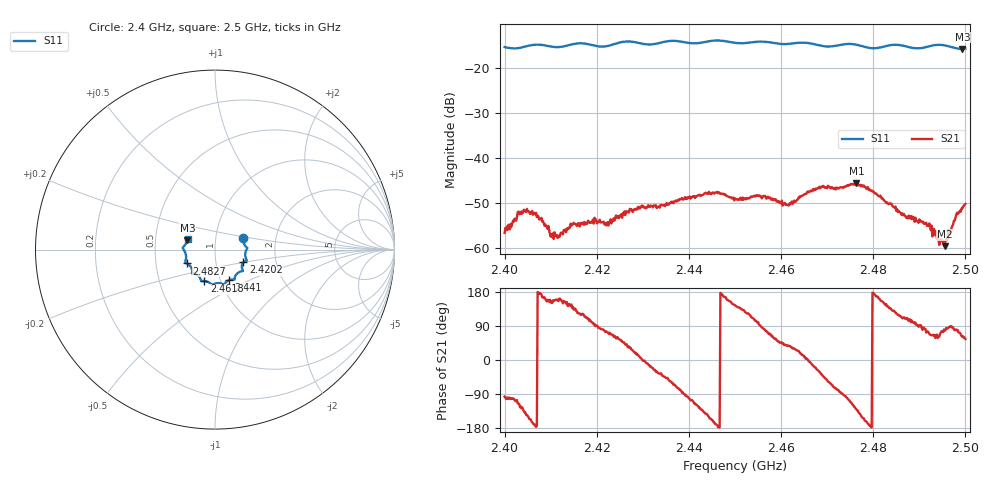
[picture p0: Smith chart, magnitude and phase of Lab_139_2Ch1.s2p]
# Hz S RI R 50
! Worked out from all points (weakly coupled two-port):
!   601 points, 2.4 GHz to 2.5 GHz, reference 50 ohm
!   highest |S21| = -45.64 dB at 2.4763 GHz (marker M1); lowest = -59.6 dB at 2.4955 GHz (marker M2)
!   lowest |S11| = -15.8 dB at 2.4993 GHz (marker M3), VSWR 1.39, Z = 36.5 + j3.84 ohm
!   |S11| at or under -10 dB: start of sweep to end of sweep
!   S12 and S22 are empty: the file has one direction only
!   S11 on the Smith chart (normalised r, x): 2.4 GHz: 1.36, +0.18; 2.4202 GHz: 1.36, -0.20; 2.441 GHz: 1.10, -0.39; 2.4618 GHz: 0.84, -0.30; 2.4827 GHz: 0.72, -0.12; 2.5 GHz: 0.73, +0.09
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2.4e9  0.1582 0.063  -0.00017 -0.00146  0 0  0 0
2.404667e9  0.1727 0.0153  -0.00205 -0.00143  0 0  0 0
2.406833e9  0.1806 0.00929  -0.00245 -0.000144  0 0  0 0
2.4105e9  0.1707 -0.0109  -0.00134 0.000564  0 0  0 0
2.416667e9  0.1772 -0.0609  -0.00092 0.00165  0 0  0 0
2.420167e9  0.1585 -0.0712  1.37e-05 0.00194  0 0  0 0
2.422167e9  0.1496 -0.089  0.000517 0.00181  0 0  0 0
2.4295e9  0.1413 -0.1227  0.00286 0.000279  0 0  0 0
2.433333e9  0.1114 -0.1508  0.00237 -0.0016  0 0  0 0
2.441e9  0.0788 -0.1697  -0.00131 -0.00346  0 0  0 0
2.446167e9  0.0496 -0.1953  -0.00416 -0.00052  0 0  0 0
2.45e9  0.0284 -0.1875  -0.00288 0.00206  0 0  0 0
2.455e9  -0.0125 -0.195  -0.000679 0.00372  0 0  0 0
2.461833e9  -0.0591 -0.1755  0.00249 0.00189  0 0  0 0
2.466667e9  -0.0788 -0.1683  0.00419 -0.000862  0 0  0 0
2.476333e9  -0.1271 -0.1286  -0.00336 -0.004  0 0  0 0
2.482667e9  -0.1562 -0.0774  -0.00266 0.00187  0 0  0 0
2.483333e9  -0.1606 -0.0752  -0.00234 0.00197  0 0  0 0
2.491833e9  -0.172 -0.00351  0.000452 0.00172  0 0  0 0
2.4955e9  -0.1771 0.0146  0.000242 0.00102  0 0  0 0
2.499333e9  -0.154 0.0513  0.00132 0.00241  0 0  0 0
2.5e9  -0.1522 0.0606  0.00175 0.00254  0 0  0 0
